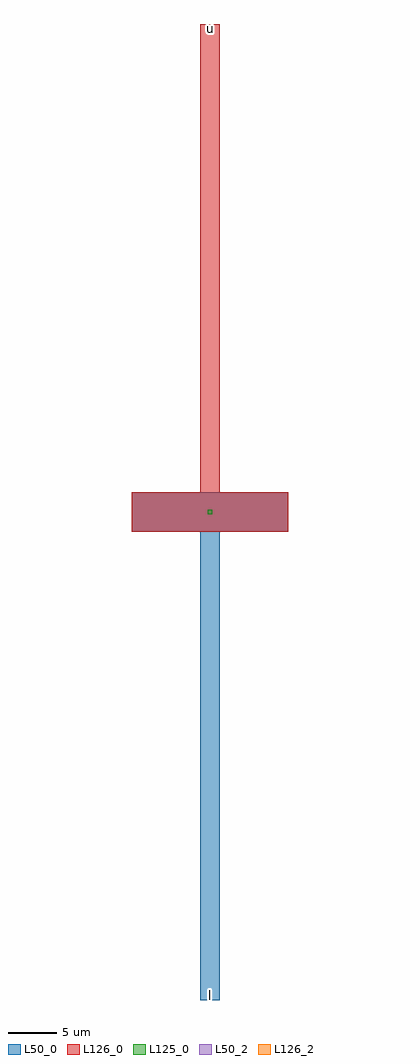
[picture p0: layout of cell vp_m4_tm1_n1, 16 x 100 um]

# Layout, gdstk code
import gdstk
lib = gdstk.Library(unit=1e-6, precision=1e-09)
def R(c, l, rs):  # rectangles x0, y0, x1, y1
    for r in rs: c.add(gdstk.rectangle(r[:2], r[2:], *l))
L50_0 = (50, 0)
L50_2 = (50, 2)
L125_0 = (125, 0)
L126_0 = (126, 0)
L126_2 = (126, 2)

vp_m4_tm1_n1 = lib.new_cell('vp_m4_tm1_n1')
R(vp_m4_tm1_n1, L50_0, [(7,0,9,48), (0,48,16,52)])
R(vp_m4_tm1_n1, L50_2, [(7.9,0.4,8.1,0.6)])
R(vp_m4_tm1_n1, L125_0, [(7.79,49.79,8.21,50.21)])
R(vp_m4_tm1_n1, L126_0, [(0,48,16,52), (7,52,9,100)])
R(vp_m4_tm1_n1, L126_2, [(7.9,99.4,8.1,99.6)])
vp_m4_tm1_n1.add(gdstk.Label('l', (8,0.5), layer=50, texttype=2))
vp_m4_tm1_n1.add(gdstk.Label('u', (8,99.5), layer=126, texttype=2))

lib.write_gds('vp_m4_tm1_n1.gds')
